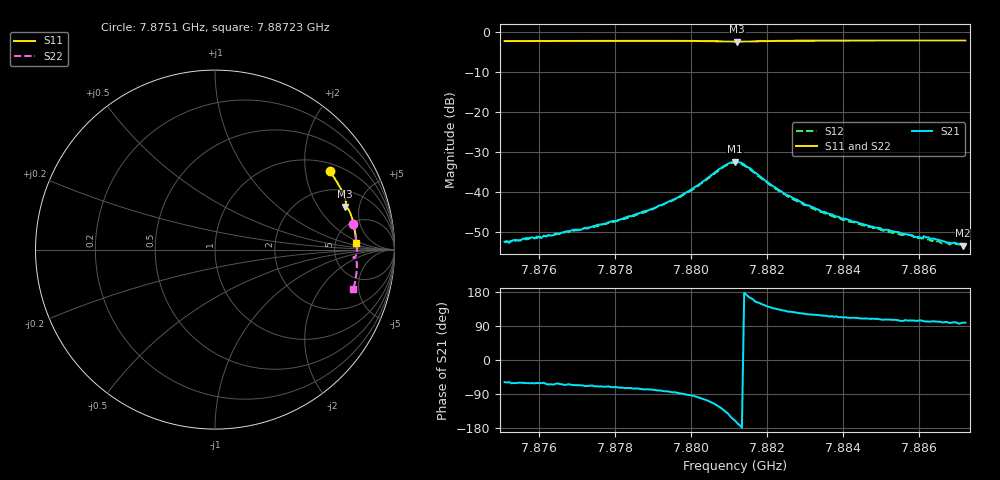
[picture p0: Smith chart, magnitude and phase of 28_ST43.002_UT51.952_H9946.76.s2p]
#  HZ  S  DB  R  50.00
! Rohde & Schwarz Vector Network Analyzer
! Rohde-Schwarz,ZNB20-2Port,1311601062101988,3.16
! Created: UTC 1/12/2023, 6:31:10 PM
! freq[Hz]  db:S11  ang:S11  db:S21  ang:S21  db:S12  ang:S12  db:S22  ang:S22
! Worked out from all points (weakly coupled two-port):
!   201 points, 7.8751 GHz to 7.88723 GHz, reference 50 ohm
!   highest |S21| = -32.44 dB at 7.88116 GHz (marker M1); lowest = -53.5 dB at 7.88717 GHz (marker M2)
!   lowest |S11| = -2.4 dB at 7.88122 GHz (marker M3), VSWR 7.35, Z = 157 + j178 ohm
!   |S11| at or under -10 dB: nowhere
!   |S22| runs from -2.3 to -1.9 dB; largest |S21 - S12| = 0.0018
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7.875095e9  -2.23 34.3  -52.47 -58.4  -52.61 -61.6  -2.14 10.3
7.875217e9  -2.22 34.0  -52.75 -58.6  -52.45 -62.5  -2.13 10.1
7.875944e9  -2.20 32.0  -51.18 -60.6  -51.56 -65.0  -2.11 8.3
7.876066e9  -2.21 31.6  -51.54 -61.0  -51.33 -66.6  -2.11 8.0
7.876126e9  -2.21 31.4  -50.93 -60.1  -51.02 -65.9  -2.11 7.9
7.877158e9  -2.19 28.7  -49.21 -67.2  -49.22 -70.3  -2.08 5.5
7.878067e9  -2.18 26.2  -47.27 -71.9  -47.12 -75.2  -2.05 3.3
7.879159e9  -2.17 23.1  -43.43 -80.4  -43.66 -83.8  -2.04 0.8
7.879644e9  -2.18 21.7  -41.46 -86.8  -41.59 -89.9  -2.05 -0.4
7.880918e9  -2.34 18.3  -33.24 -136.7  -33.39 -140.1  -2.21 -3.4
7.881161e9  -2.38 18.3  -32.44 -160.0  -32.70 -163.5  -2.25 -3.3
7.881221e9  -2.38 18.3  -32.50 -166.9  -32.79 -169.6  -2.25 -3.2
7.881585e9  -2.28 18.0  -34.26 163.1  -34.60 159.0  -2.16 -3.3
7.882495e9  -2.16 15.4  -40.63 129.7  -40.76 125.7  -2.01 -5.5
7.883223e9  -2.13 13.4  -43.91 119.4  -44.24 116.2  -1.97 -7.2
7.883951e9  -2.11 11.4  -46.59 113.2  -46.83 109.4  -1.96 -8.9
7.885224e9  -2.09 8.0  -49.58 106.7  -50.10 103.6  -1.94 -11.7
7.886074e9  -2.08 5.7  -51.72 104.1  -51.53 100.8  -1.92 -13.6
7.886134e9  -2.08 5.6  -51.11 102.3  -51.70 99.5  -1.93 -13.7
7.886438e9  -2.08 4.8  -51.85 101.7  -52.63 98.3  -1.93 -14.4
7.887165e9  -2.07 2.9  -53.45 99.0  -53.35 95.0  -1.92 -16.0
7.887226e9  -2.07 2.7  -53.38 98.3  -53.59 94.0  -1.92 -16.1
